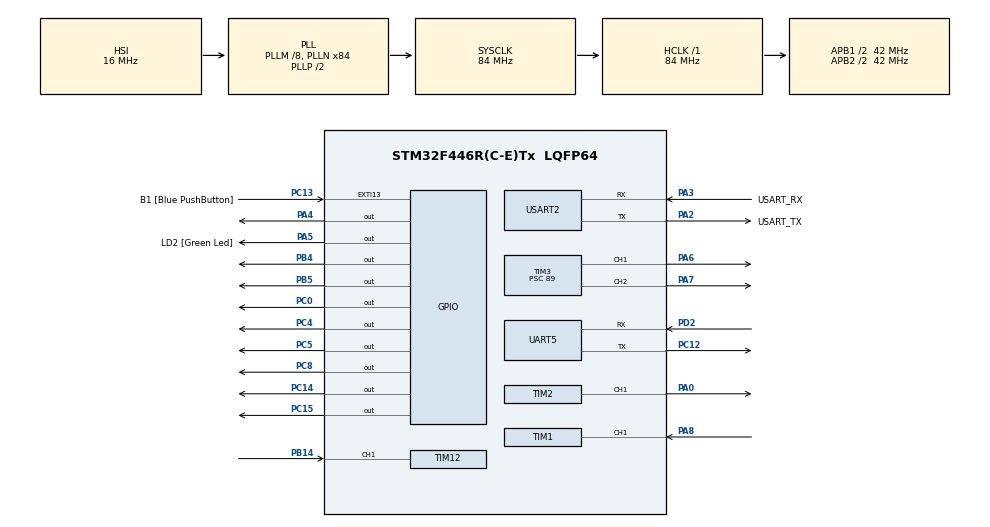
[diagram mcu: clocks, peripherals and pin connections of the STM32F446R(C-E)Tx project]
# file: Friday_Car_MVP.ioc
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Mcu.Family=STM32F4
Mcu.Name=STM32F446R(C-E)Tx
Mcu.Package=LQFP64
NVIC.PriorityGroup=NVIC_PRIORITYGROUP_0
NVIC.RCC_IRQn=true\:0\:0\:false\:false\:true\:true\:false\:true
NVIC.TIM1_CC_IRQn=true\:0\:0\:false\:false\:true\:true\:true\:true
NVIC.TIM8_BRK_TIM12_IRQn=true\:0\:0\:false\:false\:true\:true\:true\:true
NVIC.UART5_IRQn=true\:0\:0\:false\:false\:true\:true\:true\:true
PA0-WKUP.Signal=S_TIM2_CH1_ETR
PA13.GPIO_Label=TMS
PA13.Mode=Serial_Wire
PA13.Signal=SYS_JTMS-SWDIO
PA14.GPIO_Label=TCK
PA14.Mode=Serial_Wire
PA14.Signal=SYS_JTCK-SWCLK
PA2.GPIO_Label=USART_TX
PA2.Mode=Asynchronous
PA2.Signal=USART2_TX
PA3.GPIO_Label=USART_RX
PA3.Mode=Asynchronous
PA3.Signal=USART2_RX
PA4.Signal=GPIO_Output
PA5.GPIO_Label=LD2 [Green Led]
PA5.Signal=GPIO_Output
PA6.Signal=S_TIM3_CH1
PA7.Signal=S_TIM3_CH2
PA8.Signal=S_TIM1_CH1
PB14.Signal=S_TIM12_CH1
PB3.GPIO_Label=SWO
PB3.Signal=SYS_JTDO-SWO
PB4.Signal=GPIO_Output
PB5.Signal=GPIO_Output
PB6.Signal=S_TIM4_CH1
PB8.Signal=S_TIM4_CH3
PC0.Signal=GPIO_Output
PC12.Mode=Asynchronous
PC12.Signal=UART5_TX
PC13.GPIO_Label=B1 [Blue PushButton]
PC13.GPIO_ModeDefaultEXTI=GPIO_MODE_IT_FALLING
PC13.Signal=GPXTI13
PC14-OSC32_IN.Signal=GPIO_Output
PC15-OSC32_OUT.Signal=GPIO_Output
PC4.Signal=GPIO_Output
PC5.Signal=GPIO_Output
PC8.Signal=GPIO_Output
PD2.Mode=Asynchronous
PD2.Signal=UART5_RX
PH0-OSC_IN.Mode=HSE-External-Oscillator
PH0-OSC_IN.Signal=RCC_OSC_IN
PH1-OSC_OUT.Mode=HSE-External-Oscillator
PH1-OSC_OUT.Signal=RCC_OSC_OUT
ProjectManager.HeapSize=0x200
ProjectManager.StackSize=0x400
ProjectManager.TargetToolchain=STM32CubeIDE
RCC.48MHZClocksFreq_Value=84000000
RCC.AHBFreq_Value=84000000
RCC.APB1CLKDivider=RCC_HCLK_DIV2
RCC.APB1Freq_Value=42000000
RCC.APB1TimFreq_Value=84000000
RCC.APB2CLKDivider=RCC_HCLK_DIV2
RCC.APB2Freq_Value=42000000
RCC.APB2TimFreq_Value=84000000
RCC.CortexFreq_Value=84000000
RCC.FLatency-AdvancedSettings=FLASH_LATENCY_2
RCC.HCLKFreq_Value=84000000
RCC.HSE_VALUE=8000000
RCC.HSI_VALUE=16000000
RCC.PLLM=8
RCC.PLLN=84
RCC.SYSCLKFreq_VALUE=84000000
RCC.SYSCLKSource=RCC_SYSCLKSOURCE_PLLCLK
RCC.USBFreq_Value=84000000
RCC.VCOOutputFreq_Value=168000000
SH.S_TIM12_CH1.0=TIM12_CH1,Input_Capture1_from_TI1
SH.S_TIM1_CH1.0=TIM1_CH1,Input_Capture1_from_TI1
SH.S_TIM2_CH1_ETR.0=TIM2_CH1,PWM Generation1 CH1
SH.S_TIM3_CH1.0=TIM3_CH1,PWM Generation1 CH1
SH.S_TIM3_CH2.0=TIM3_CH2,PWM Generation2 CH2
SH.S_TIM4_CH1.0=TIM4_CH1
SH.S_TIM4_CH3.0=TIM4_CH3
TIM1.Channel-Input_Capture1_from_TI1=TIM_CHANNEL_1
TIM12.Channel-Input_Capture1_from_TI1=TIM_CHANNEL_1
TIM12.Prescaler=0
TIM2.AutoReloadPreload=TIM_AUTORELOAD_PRELOAD_DISABLE
TIM2.Channel-PWM\ Generation1\ CH1=TIM_CHANNEL_1
TIM2.Period=999
TIM2.Prescaler=89
TIM3.Channel-PWM\ Generation1\ CH1=TIM_CHANNEL_1
TIM3.Channel-PWM\ Generation2\ CH2=TIM_CHANNEL_2
TIM3.Prescaler=89
UART5.VirtualMode=Asynchronous
USART2.VirtualMode=VM_ASYNC
VP_TIM12_VS_ClockSourceINT.Mode=Internal
VP_TIM3_VS_ClockSourceINT.Mode=Internal
VP_TIM4_VS_ClockSourceINT.Mode=Internal
board=NUCLEO-F446RE

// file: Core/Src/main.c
/* USER CODE BEGIN Header */
/**
  ******************************************************************************
  * @file           : main.c
  * @brief          : Main program body
  ******************************************************************************
  * @attention
  *
  * Copyright (c) 2026 STMicroelectronics.
  * All rights reserved.
  *
  * This software is licensed under terms that can be found in the LICENSE file
  * in the root directory of this software component.
  * If no LICENSE file comes with this software, it is provided AS-IS.
  *
  ******************************************************************************
  */
/* USER CODE END Header */
#include "main.h"

/* USER CODE BEGIN Includes */
#include "../inc/HCSR04.h"
#define HCSR04_SENSOR1  0
#include <stdio.h>
#include <string.h>

/* USER CODE END Includes */

TIM_HandleTypeDef htim1;
TIM_HandleTypeDef htim2;
TIM_HandleTypeDef htim3;
TIM_HandleTypeDef htim4;
TIM_HandleTypeDef htim12;

UART_HandleTypeDef huart5;
UART_HandleTypeDef huart2;

/* USER CODE BEGIN PV */
// ================= RC CAR VARIABLES =================

#define PKT_LEN 6
#define START_BYTE 0xAA

uint8_t Data[64];
char msg[50];

uint16_t joy_x_recv, joy_y_recv;
uint32_t speed_value;

// ================= METAL DETECTION VARIABLES =================

float frequency = 0;
float threshold = 185;

uint16_t TRIG_Ticks = 0;
float Distance = 0.0;
char TEXT[16] = {0};

// ================= INPUT CAPTURE VARIABLES =================

uint32_t ic_val1 = 0;
uint32_t ic_val2 = 0;
uint32_t diff = 0;

uint8_t is_first_capture = 0;

/* USER CODE END PV */

void SystemClock_Config(void);
static void MX_GPIO_Init(void);
static void MX_TIM1_Init(void);
static void MX_TIM2_Init(void);
static void MX_TIM3_Init(void);
static void MX_TIM4_Init(void);
static void MX_TIM12_Init(void);
static void MX_UART5_Init(void);
static void MX_USART2_UART_Init(void);

/* USER CODE BEGIN 0 */
// ================= JOYSTICK PARSER =================

uint8_t Parse_Joystick(uint8_t *buf, uint16_t *x, uint16_t *y)
{
    if (buf[0] != START_BYTE) return 0;

    uint8_t chk = buf[1] ^ buf[2] ^ buf[3] ^ buf[4];
    if (chk != buf[5]) return 0;

    *x = ((uint16_t)(buf[1] & 0x0F) << 8) | buf[2];
    *y = ((uint16_t)(buf[3] & 0x0F) << 8) | buf[4];

    return 1;
}

// ================= MOTOR DRIVER =================

void Drive_Motors(uint16_t x, uint16_t y)
{
    // Deadband stop
    if (x > 1970 && x < 2010 && y > 2050 && y < 2090)
    {
        HAL_GPIO_WritePin(GPIOC, GPIO_PIN_4|GPIO_PIN_5, 0);
        HAL_GPIO_WritePin(GPIOA, GPIO_PIN_4, 0);
        HAL_GPIO_WritePin(GPIOC, GPIO_PIN_0, 0);

        __HAL_TIM_SET_COMPARE(&htim3, TIM_CHANNEL_1, 0);
        __HAL_TIM_SET_COMPARE(&htim3, TIM_CHANNEL_2, 0);

        return;
    }

    int32_t drive = (int32_t)y - 2048;
    int32_t steer = (int32_t)x - 2048;

    int32_t left  = drive + steer;
    int32_t right = drive - steer;

    if (left > 2047) left = 2047;
    if (left < -2047) left = -2047;
    if (right > 2047) right = 2047;
    if (right < -2047) right = -2047;

    uint32_t left_pwm  = (uint32_t)(left  < 0 ? -left  : left) * 1999 / 2047;
    uint32_t right_pwm = (uint32_t)(right < 0 ? -right : right) * 1999 / 2047;

    // Left Motor
    if (left >= 0) {
        HAL_GPIO_WritePin(GPIOC, GPIO_PIN_4, 1);
        HAL_GPIO_WritePin(GPIOC, GPIO_PIN_5, 0);
    } else {
        HAL_GPIO_WritePin(GPIOC, GPIO_PIN_4, 0);
        HAL_GPIO_WritePin(GPIOC, GPIO_PIN_5, 1);
    }

    // Right Motor
    if (right >= 0) {
        HAL_GPIO_WritePin(GPIOA, GPIO_PIN_4, 1);
        HAL_GPIO_WritePin(GPIOC, GPIO_PIN_0, 0);
    } else {
        HAL_GPIO_WritePin(GPIOA, GPIO_PIN_4, 0);
        HAL_GPIO_WritePin(GPIOC, GPIO_PIN_0, 1);
    }

    __HAL_TIM_SET_COMPARE(&htim3, TIM_CHANNEL_1, left_pwm);
    __HAL_TIM_SET_COMPARE(&htim3, TIM_CHANNEL_2, right_pwm);
}

void Send_Ble(float Distance)
{

//    pkt[0] = 0xAA;                   // start byte
//    pkt[1] = (Distance >> 8) & 0x0F;        // Dist high nibble
//    pkt[2] = Distance & 0xFF;               //DIST low byte
//
//    pkt[5] = pkt[1] ^ pkt[2] ^ pkt[3] ^ pkt[4];  // checksum

//    HAL_UART_Transmit(&huart5, pkt, 6, 100);  // UART5 → HC-05
}

/* USER CODE END 0 */

int main(void)
{

  /* MCU Configuration--------------------------------------------------------*/

  /* Reset of all peripherals, Initializes the Flash interface and the Systick. */
  HAL_Init();

  /* Configure the system clock */
  SystemClock_Config();

  /* Initialize all configured peripherals */
  MX_GPIO_Init();
  MX_TIM1_Init();
  MX_TIM2_Init();
  MX_TIM3_Init();
  MX_TIM4_Init();
  MX_TIM12_Init();
  MX_UART5_Init();
  MX_USART2_UART_Init();
  /* USER CODE BEGIN 2 */
  // ================= INITIALIZATION =================

  HAL_UARTEx_ReceiveToIdle_IT(&huart5, Data, 64);

  HAL_TIM_PWM_Start(&htim2, TIM_CHANNEL_1); // Buzzer
  HAL_TIM_PWM_Start(&htim3, TIM_CHANNEL_1); // Right Motor
  HAL_TIM_PWM_Start(&htim3, TIM_CHANNEL_2); // Left Motor

  HAL_TIM_Base_Start_IT(&htim12);
  HAL_TIM_IC_Start_IT(&htim1, TIM_CHANNEL_1);

  HCSR04_Init(HCSR04_SENSOR1, &htim12);
  sprintf(msg, "PSC=%lu ARR=%lu CLK=%lu\r\n",
      (uint32_t)TIM12->PSC,
      (uint32_t)TIM12->ARR,
      (uint32_t)84);
  HAL_UART_Transmit(&huart2, (uint8_t*)msg, strlen(msg), 1000);

  __HAL_TIM_SET_COMPARE(&htim3, TIM_CHANNEL_1, 0);
  __HAL_TIM_SET_COMPARE(&htim3, TIM_CHANNEL_2, 0);

  sprintf(msg,"System Started\r\n");
  HAL_UART_Transmit(&huart2,(uint8_t*)msg,strlen(msg),1000);

  /* USER CODE END 2 */

  /* Infinite loop */
  while (1)
  {

    /* USER CODE BEGIN 3 */
	  // ================= DEBUG JOYSTICK =================

	     sprintf(msg, "\nX:%u Y:%u\r\n", joy_x_recv, joy_y_recv);
	     HAL_UART_Transmit(&huart2, (uint8_t*)msg, strlen(msg), 1000);

//	      ================= METAL DETECTION =================

	     sprintf(msg, "Freq: %.2f Hz\r\n", frequency);
	     HAL_UART_Transmit(&huart2, (uint8_t*)msg, strlen(msg), 100);

	     if (frequency > threshold)
	     {
	         sprintf(msg,"Metal Detected\r\n");
	         HAL_UART_Transmit(&huart2,(uint8_t*)msg,strlen(msg),100);

	         __HAL_TIM_SET_COMPARE(&htim2, TIM_CHANNEL_1, 500); // buzzer ON
	     }
	     else
	     {
	         __HAL_TIM_SET_COMPARE(&htim2, TIM_CHANNEL_1, 0); // buzzer OFF
	     }

	 // ================= ULTRASONIC =================

	     Distance = HCSR04_Read(HCSR04_SENSOR1);

	    		  sprintf(TEXT, "Dist= %.2f cm\r\n", Distance);
	    		  HAL_UART_Transmit(&huart2, (uint8_t*)TEXT, strlen(TEXT), 1000);

	    		  sprintf(TEXT, "amogusr\n");
	    		  HAL_UART_Transmit(&huart5, (uint8_t*)TEXT, strlen(TEXT), 1000);

	    	  HAL_Delay(100);

  }
  /* USER CODE END 3 */
}

void SystemClock_Config(void)
{
  RCC_OscInitTypeDef RCC_OscInitStruct = {0};
  RCC_ClkInitTypeDef RCC_ClkInitStruct = {0};

  /** Configure the main internal regulator output voltage
  */
  __HAL_RCC_PWR_CLK_ENABLE();
  __HAL_PWR_VOLTAGESCALING_CONFIG(PWR_REGULATOR_VOLTAGE_SCALE3);

  /** Initializes the RCC Oscillators according to the specified parameters
  * in the RCC_OscInitTypeDef structure.
  */
  RCC_OscInitStruct.OscillatorType = RCC_OSCILLATORTYPE_HSI;
  RCC_OscInitStruct.HSIState = RCC_HSI_ON;
  RCC_OscInitStruct.HSICalibrationValue = RCC_HSICALIBRATION_DEFAULT;
  RCC_OscInitStruct.PLL.PLLState = RCC_PLL_ON;
  RCC_OscInitStruct.PLL.PLLSource = RCC_PLLSOURCE_HSI;
  RCC_OscInitStruct.PLL.PLLM = 8;
  RCC_OscInitStruct.PLL.PLLN = 84;
  RCC_OscInitStruct.PLL.PLLP = RCC_PLLP_DIV2;
  RCC_OscInitStruct.PLL.PLLQ = 2;
  RCC_OscInitStruct.PLL.PLLR = 2;
  if (HAL_RCC_OscConfig(&RCC_OscInitStruct) != HAL_OK)
  {
    Error_Handler();
  }

  /** Initializes the CPU, AHB and APB buses clocks
  */
  RCC_ClkInitStruct.ClockType = RCC_CLOCKTYPE_HCLK|RCC_CLOCKTYPE_SYSCLK
                              |RCC_CLOCKTYPE_PCLK1|RCC_CLOCKTYPE_PCLK2;
  RCC_ClkInitStruct.SYSCLKSource = RCC_SYSCLKSOURCE_PLLCLK;
  RCC_ClkInitStruct.AHBCLKDivider = RCC_SYSCLK_DIV1;
  RCC_ClkInitStruct.APB1CLKDivider = RCC_HCLK_DIV2;
  RCC_ClkInitStruct.APB2CLKDivider = RCC_HCLK_DIV2;

  if (HAL_RCC_ClockConfig(&RCC_ClkInitStruct, FLASH_LATENCY_2) != HAL_OK)
  {
    Error_Handler();
  }
}

static void MX_TIM1_Init(void)
{

  TIM_MasterConfigTypeDef sMasterConfig = {0};
  TIM_IC_InitTypeDef sConfigIC = {0};

  htim1.Instance = TIM1;
  htim1.Init.Prescaler = 0;
  htim1.Init.CounterMode = TIM_COUNTERMODE_UP;
  htim1.Init.Period = 65535;
  htim1.Init.ClockDivision = TIM_CLOCKDIVISION_DIV1;
  htim1.Init.RepetitionCounter = 0;
  htim1.Init.AutoReloadPreload = TIM_AUTORELOAD_PRELOAD_DISABLE;
  if (HAL_TIM_IC_Init(&htim1) != HAL_OK)
  {
    Error_Handler();
  }
  sMasterConfig.MasterOutputTrigger = TIM_TRGO_RESET;
  sMasterConfig.MasterSlaveMode = TIM_MASTERSLAVEMODE_DISABLE;
  if (HAL_TIMEx_MasterConfigSynchronization(&htim1, &sMasterConfig) != HAL_OK)
  {
    Error_Handler();
  }
  sConfigIC.ICPolarity = TIM_INPUTCHANNELPOLARITY_RISING;
  sConfigIC.ICSelection = TIM_ICSELECTION_DIRECTTI;
  sConfigIC.ICPrescaler = TIM_ICPSC_DIV1;
  sConfigIC.ICFilter = 0;
  if (HAL_TIM_IC_ConfigChannel(&htim1, &sConfigIC, TIM_CHANNEL_1) != HAL_OK)
  {
    Error_Handler();
  }

}

static void MX_TIM2_Init(void)
{

  TIM_MasterConfigTypeDef sMasterConfig = {0};
  TIM_OC_InitTypeDef sConfigOC = {0};

  htim2.Instance = TIM2;
  htim2.Init.Prescaler = 89;
  htim2.Init.CounterMode = TIM_COUNTERMODE_UP;
  htim2.Init.Period = 999;
  htim2.Init.ClockDivision = TIM_CLOCKDIVISION_DIV1;
  htim2.Init.AutoReloadPreload = TIM_AUTORELOAD_PRELOAD_DISABLE;
  if (HAL_TIM_PWM_Init(&htim2) != HAL_OK)
  {
    Error_Handler();
  }
  sMasterConfig.MasterOutputTrigger = TIM_TRGO_RESET;
  sMasterConfig.MasterSlaveMode = TIM_MASTERSLAVEMODE_DISABLE;
  if (HAL_TIMEx_MasterConfigSynchronization(&htim2, &sMasterConfig) != HAL_OK)
  {
    Error_Handler();
  }
  sConfigOC.OCMode = TIM_OCMODE_PWM1;
  sConfigOC.Pulse = 0;
  sConfigOC.OCPolarity = TIM_OCPOLARITY_HIGH;
  sConfigOC.OCFastMode = TIM_OCFAST_DISABLE;
  if (HAL_TIM_PWM_ConfigChannel(&htim2, &sConfigOC, TIM_CHANNEL_1) != HAL_OK)
  {
    Error_Handler();
  }
  HAL_TIM_MspPostInit(&htim2);

}

static void MX_TIM3_Init(void)
{

  TIM_ClockConfigTypeDef sClockSourceConfig = {0};
  TIM_MasterConfigTypeDef sMasterConfig = {0};
  TIM_OC_InitTypeDef sConfigOC = {0};

  htim3.Instance = TIM3;
  htim3.Init.Prescaler = 89;
  htim3.Init.CounterMode = TIM_COUNTERMODE_UP;
  htim3.Init.Period = 65535;
  htim3.Init.ClockDivision = TIM_CLOCKDIVISION_DIV1;
  htim3.Init.AutoReloadPreload = TIM_AUTORELOAD_PRELOAD_DISABLE;
  if (HAL_TIM_Base_Init(&htim3) != HAL_OK)
  {
    Error_Handler();
  }
  sClockSourceConfig.ClockSource = TIM_CLOCKSOURCE_INTERNAL;
  if (HAL_TIM_ConfigClockSource(&htim3, &sClockSourceConfig) != HAL_OK)
  {
    Error_Handler();
  }
  if (HAL_TIM_PWM_Init(&htim3) != HAL_OK)
  {
    Error_Handler();
  }
  sMasterConfig.MasterOutputTrigger = TIM_TRGO_RESET;
  sMasterConfig.MasterSlaveMode = TIM_MASTERSLAVEMODE_DISABLE;
  if (HAL_TIMEx_MasterConfigSynchronization(&htim3, &sMasterConfig) != HAL_OK)
  {
    Error_Handler();
  }
  sConfigOC.OCMode = TIM_OCMODE_PWM1;
  sConfigOC.Pulse = 0;
  sConfigOC.OCPolarity = TIM_OCPOLARITY_HIGH;
  sConfigOC.OCFastMode = TIM_OCFAST_DISABLE;
  if (HAL_TIM_PWM_ConfigChannel(&htim3, &sConfigOC, TIM_CHANNEL_1) != HAL_OK)
  {
    Error_Handler();
  }
  if (HAL_TIM_PWM_ConfigChannel(&htim3, &sConfigOC, TIM_CHANNEL_2) != HAL_OK)
  {
    Error_Handler();
  }
  HAL_TIM_MspPostInit(&htim3);

}

static void MX_TIM4_Init(void)
{

  TIM_ClockConfigTypeDef sClockSourceConfig = {0};
  TIM_MasterConfigTypeDef sMasterConfig = {0};

  htim4.Instance = TIM4;
  htim4.Init.Prescaler = 0;
  htim4.Init.CounterMode = TIM_COUNTERMODE_UP;
  htim4.Init.Period = 65535;
  htim4.Init.ClockDivision = TIM_CLOCKDIVISION_DIV1;
  htim4.Init.AutoReloadPreload = TIM_AUTORELOAD_PRELOAD_DISABLE;
  if (HAL_TIM_Base_Init(&htim4) != HAL_OK)
  {
    Error_Handler();
  }
  sClockSourceConfig.ClockSource = TIM_CLOCKSOURCE_INTERNAL;
  if (HAL_TIM_ConfigClockSource(&htim4, &sClockSourceConfig) != HAL_OK)
  {
    Error_Handler();
  }
  sMasterConfig.MasterOutputTrigger = TIM_TRGO_RESET;
  sMasterConfig.MasterSlaveMode = TIM_MASTERSLAVEMODE_DISABLE;
  if (HAL_TIMEx_MasterConfigSynchronization(&htim4, &sMasterConfig) != HAL_OK)
  {
    Error_Handler();
  }

}

static void MX_TIM12_Init(void)
{

  TIM_ClockConfigTypeDef sClockSourceConfig = {0};
  TIM_IC_InitTypeDef sConfigIC = {0};

  htim12.Instance = TIM12;
  htim12.Init.Prescaler = 0;
  htim12.Init.CounterMode = TIM_COUNTERMODE_UP;
  htim12.Init.Period = 65535;
  htim12.Init.ClockDivision = TIM_CLOCKDIVISION_DIV1;
  htim12.Init.AutoReloadPreload = TIM_AUTORELOAD_PRELOAD_DISABLE;
  if (HAL_TIM_Base_Init(&htim12) != HAL_OK)
  {
    Error_Handler();
  }
  sClockSourceConfig.ClockSource = TIM_CLOCKSOURCE_INTERNAL;
  if (HAL_TIM_ConfigClockSource(&htim12, &sClockSourceConfig) != HAL_OK)
  {
    Error_Handler();
  }
  if (HAL_TIM_IC_Init(&htim12) != HAL_OK)
  {
    Error_Handler();
  }
  sConfigIC.ICPolarity = TIM_INPUTCHANNELPOLARITY_RISING;
  sConfigIC.ICSelection = TIM_ICSELECTION_DIRECTTI;
  sConfigIC.ICPrescaler = TIM_ICPSC_DIV1;
  sConfigIC.ICFilter = 0;
  if (HAL_TIM_IC_ConfigChannel(&htim12, &sConfigIC, TIM_CHANNEL_1) != HAL_OK)
  {
    Error_Handler();
  }

}

static void MX_UART5_Init(void)
{

  huart5.Instance = UART5;
  huart5.Init.BaudRate = 115200;
  huart5.Init.WordLength = UART_WORDLENGTH_8B;
  huart5.Init.StopBits = UART_STOPBITS_1;
  huart5.Init.Parity = UART_PARITY_NONE;
  huart5.Init.Mode = UART_MODE_TX_RX;
  huart5.Init.HwFlowCtl = UART_HWCONTROL_NONE;
  huart5.Init.OverSampling = UART_OVERSAMPLING_16;
  if (HAL_UART_Init(&huart5) != HAL_OK)
  {
    Error_Handler();
  }

}

static void MX_USART2_UART_Init(void)
{

  huart2.Instance = USART2;
  huart2.Init.BaudRate = 115200;
  huart2.Init.WordLength = UART_WORDLENGTH_8B;
  huart2.Init.StopBits = UART_STOPBITS_1;
  huart2.Init.Parity = UART_PARITY_NONE;
  huart2.Init.Mode = UART_MODE_TX_RX;
  huart2.Init.HwFlowCtl = UART_HWCONTROL_NONE;
  huart2.Init.OverSampling = UART_OVERSAMPLING_16;
  if (HAL_UART_Init(&huart2) != HAL_OK)
  {
    Error_Handler();
  }

}

static void MX_GPIO_Init(void)
{
  GPIO_InitTypeDef GPIO_InitStruct = {0};

  /* GPIO Ports Clock Enable */
  __HAL_RCC_GPIOC_CLK_ENABLE();
  __HAL_RCC_GPIOH_CLK_ENABLE();
  __HAL_RCC_GPIOA_CLK_ENABLE();
  __HAL_RCC_GPIOB_CLK_ENABLE();
  __HAL_RCC_GPIOD_CLK_ENABLE();

  /*Configure GPIO pin Output Level */
  HAL_GPIO_WritePin(GPIOC, GPIO_PIN_14|GPIO_PIN_15|GPIO_PIN_0|GPIO_PIN_4
                          |GPIO_PIN_5|GPIO_PIN_8, GPIO_PIN_RESET);

  /*Configure GPIO pin Output Level */
  HAL_GPIO_WritePin(GPIOA, GPIO_PIN_4|LD2_Pin, GPIO_PIN_RESET);

  /*Configure GPIO pin Output Level */
  HAL_GPIO_WritePin(GPIOB, GPIO_PIN_4|GPIO_PIN_5, GPIO_PIN_RESET);

  /*Configure GPIO pin : B1_Pin */
  GPIO_InitStruct.Pin = B1_Pin;
  GPIO_InitStruct.Mode = GPIO_MODE_IT_FALLING;
  GPIO_InitStruct.Pull = GPIO_NOPULL;
  HAL_GPIO_Init(B1_GPIO_Port, &GPIO_InitStruct);

  /*Configure GPIO pins : PC14 PC15 PC0 PC4
                           PC5 PC8 */
  GPIO_InitStruct.Pin = GPIO_PIN_14|GPIO_PIN_15|GPIO_PIN_0|GPIO_PIN_4
                          |GPIO_PIN_5|GPIO_PIN_8;
  GPIO_InitStruct.Mode = GPIO_MODE_OUTPUT_PP;
  GPIO_InitStruct.Pull = GPIO_NOPULL;
  GPIO_InitStruct.Speed = GPIO_SPEED_FREQ_LOW;
  HAL_GPIO_Init(GPIOC, &GPIO_InitStruct);

  /*Configure GPIO pins : PA4 LD2_Pin */
  GPIO_InitStruct.Pin = GPIO_PIN_4|LD2_Pin;
  GPIO_InitStruct.Mode = GPIO_MODE_OUTPUT_PP;
  GPIO_InitStruct.Pull = GPIO_NOPULL;
  GPIO_InitStruct.Speed = GPIO_SPEED_FREQ_LOW;
  HAL_GPIO_Init(GPIOA, &GPIO_InitStruct);

  /*Configure GPIO pins : PB4 PB5 */
  GPIO_InitStruct.Pin = GPIO_PIN_4|GPIO_PIN_5;
  GPIO_InitStruct.Mode = GPIO_MODE_OUTPUT_PP;
  GPIO_InitStruct.Pull = GPIO_NOPULL;
  GPIO_InitStruct.Speed = GPIO_SPEED_FREQ_LOW;
  HAL_GPIO_Init(GPIOB, &GPIO_InitStruct);

}

/* USER CODE BEGIN 4 */
// ================= UART CALLBACK =================

void HAL_UARTEx_RxEventCallback(UART_HandleTypeDef *huart, uint16_t Size)
{
    if (huart->Instance == UART5)
    {
        if (Parse_Joystick(Data, &joy_x_recv, &joy_y_recv))
        {
            Drive_Motors(joy_x_recv, joy_y_recv);
        }
    }

    HAL_UARTEx_ReceiveToIdle_IT(huart, Data, 64);
}

// ================= INPUT CAPTURE =================

void HAL_TIM_IC_CaptureCallback(TIM_HandleTypeDef *htim)
{
    if(htim->Instance == TIM1 &&
       htim->Channel == HAL_TIM_ACTIVE_CHANNEL_1)
    {
        if(is_first_capture == 0)
        {
            ic_val1 = HAL_TIM_ReadCapturedValue(htim, TIM_CHANNEL_1);
            is_first_capture = 1;
        }
        else
        {
            ic_val2 = HAL_TIM_ReadCapturedValue(htim, TIM_CHANNEL_1);

            if(ic_val2 > ic_val1)
                diff = ic_val2 - ic_val1;
            else
                diff = (65535 - ic_val1) + ic_val2;

            frequency = 1000000.0 / diff;

            is_first_capture = 0;
        }
    }

     if (htim->Instance == TIM12 &&
             htim->Channel == HAL_TIM_ACTIVE_CHANNEL_1)
    {
        HCSR04_TMR_IC_ISR(htim);

    }
}

// ================= TIMER OVERFLOW =================

void HAL_TIM_PeriodElapsedCallback(TIM_HandleTypeDef* htim)
{
    HCSR04_TMR_OVF_ISR(htim);
}

// ================= SYSTICK =================

void HAL_SYSTICK_Callback(void)
{
    TRIG_Ticks++;

    if(TRIG_Ticks >= 60)
    {
        HCSR04_Trigger(HCSR04_SENSOR1);
        TRIG_Ticks = 0;
    }
}
/* USER CODE END 4 */

void Error_Handler(void)
{
  __disable_irq();
  while (1)
  {
  }
}
